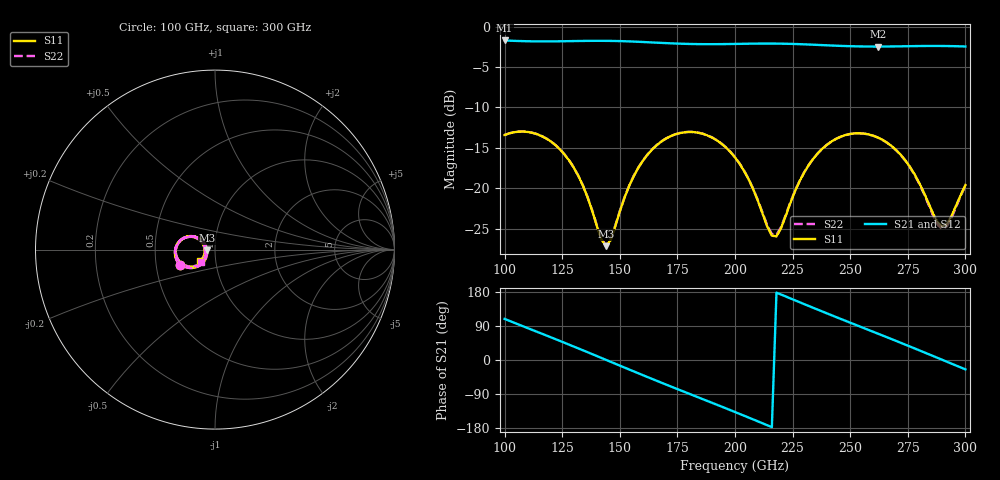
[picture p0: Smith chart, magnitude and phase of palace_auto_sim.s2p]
#  GHZ S DB R 50
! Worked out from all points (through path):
!   101 points, 100 GHz to 300 GHz, reference 50 ohm
!   highest |S21| = -1.70 dB at 100 GHz (marker M1); lowest = -2.5 dB at 262 GHz (marker M2)
!   group delay of S21, straight-line fit = 6.85 ps
!   lowest |S11| = -27.2 dB at 144 GHz (marker M3), VSWR 1.09, Z = 45.8 - j0.365 ohm
!   |S11| at or under -10 dB: start of sweep to end of sweep
!   |S22| runs from -27.0 to -13.0 dB; largest |S21 - S12| = 9.4e-14
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100  -13.41 -156.8  -1.70 108.4  -1.70 108.4  -13.40 -156.6
108  -12.98 -173.1  -1.79 89.0  -1.79 89.0  -12.97 -172.9
116  -13.53 170.9  -1.82 69.8  -1.82 69.8  -13.52 171.2
126  -15.81 152.8  -1.80 45.4  -1.80 45.4  -15.80 153.2
134  -19.68 144.0  -1.76 25.6  -1.76 25.6  -19.65 144.5
144  -27.17 -174.8  -1.75 0.4  -1.75 0.4  -27.04 -174.5
156  -18.52 -133.3  -1.84 -29.9  -1.84 -29.9  -18.50 -133.2
168  -14.22 -151.0  -2.01 -59.7  -2.01 -59.7  -14.21 -150.8
176  -13.17 -166.1  -2.10 -79.2  -2.10 -79.2  -13.16 -165.8
184  -13.12 178.5  -2.16 -98.4  -2.16 -98.4  -13.11 178.9
200  -16.18 150.8  -2.13 -137.3  -2.13 -137.3  -16.15 151.4
210  -21.61 146.9  -2.09 -162.1  -2.09 -162.1  -21.52 147.7
216  -25.86 174.4  -2.09 -177.2  -2.09 -177.2  -25.67 174.8
218  -25.95 -168.6  -2.09 177.8  -2.09 177.8  -25.76 -168.6
226  -20.40 -137.1  -2.14 157.6  -2.14 157.6  -20.35 -137.3
234  -16.34 -142.2  -2.23 137.6  -2.23 137.6  -16.32 -142.2
248  -13.41 -165.4  -2.40 103.3  -2.40 103.3  -13.41 -165.3
262  -13.72 169.3  -2.46 69.6  -2.46 69.6  -13.72 169.4
268  -14.78 159.4  -2.45 55.0  -2.45 55.0  -14.80 159.4
280  -19.36 148.1  -2.40 25.5  -2.40 25.5  -19.45 147.8
290  -24.74 -178.1  -2.39 0.4  -2.39 0.4  -25.08 -177.3
300  -19.60 -141.6  -2.45 -24.7  -2.45 -24.7  -19.68 -139.7
